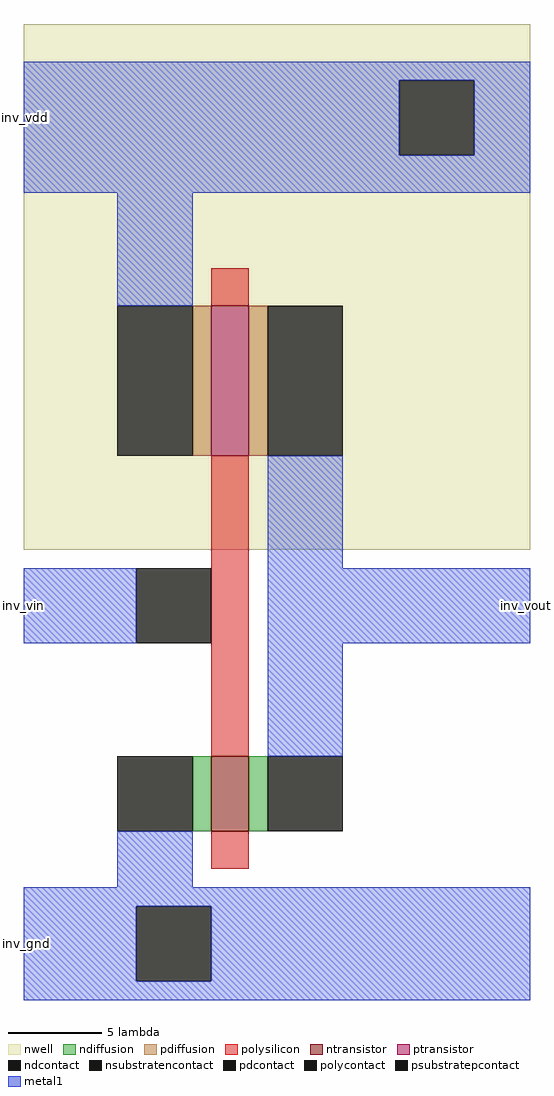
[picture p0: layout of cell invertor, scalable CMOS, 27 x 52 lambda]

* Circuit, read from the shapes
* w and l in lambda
.subckt invertor inv_vdd inv_vin inv_vout inv_gnd
M1 inv_vout inv_vin inv_gnd inv_gnd nfet w=4 l=2
M2 inv_vout inv_vin inv_vdd inv_vdd pfet w=8 l=2
.ends

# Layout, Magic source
magic
tech scmos
<< nwell >>
rect -6 15 21 43
<< polysilicon >>
rect 4 28 6 30
rect 4 4 6 20
rect 4 -2 6 0
<< ndiffusion >>
rect 3 0 4 4
rect 6 0 7 4
<< pdiffusion >>
rect 3 20 4 28
rect 6 20 7 28
<< metal1 >>
rect -6 40 21 41
rect -6 36 14 40
rect 18 36 21 40
rect -6 34 21 36
rect -1 28 3 34
rect 7 14 11 20
rect -6 10 0 14
rect 7 10 21 14
rect 7 4 11 10
rect -1 -3 3 0
rect -6 -4 21 -3
rect -6 -8 0 -4
rect 4 -8 21 -4
rect -6 -9 21 -8
<< ntransistor >>
rect 4 0 6 4
<< ptransistor >>
rect 4 20 6 28
<< polycontact >>
rect 0 10 4 14
<< ndcontact >>
rect -1 0 3 4
rect 7 0 11 4
<< pdcontact >>
rect -1 20 3 28
rect 7 20 11 28
<< psubstratepcontact >>
rect 0 -8 4 -4
<< nsubstratencontact >>
rect 14 36 18 40
<< labels >>
rlabel metal1 -6 38 -6 38 4 inv_vdd
port 1 se
rlabel metal1 -6 12 -6 12 3 inv_vin
port 2 e
rlabel metal1 21 12 21 12 7 inv_vout
port 3 w
rlabel metal1 -6 -6 -6 -6 2 inv_gnd
port 4 ne
<< end >>
